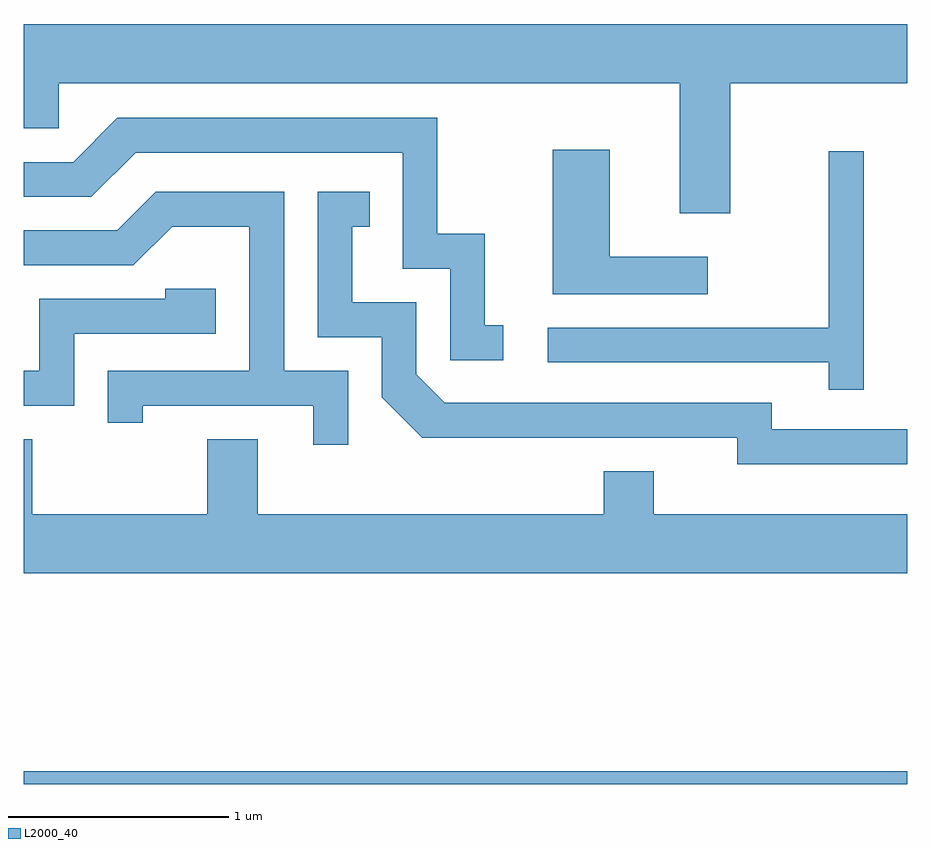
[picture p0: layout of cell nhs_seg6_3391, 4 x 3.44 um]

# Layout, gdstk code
import gdstk
lib = gdstk.Library(unit=1e-6, precision=1e-09)
def R(c, l, rs):  # rectangles x0, y0, x1, y1
    for r in rs: c.add(gdstk.rectangle(r[:2], r[2:], *l))
def P(c, l, *ps):  # polygons
    for p in ps: c.add(gdstk.Polygon(p, *l))
L2000_40 = (2000, 40)

nhs_seg6_3391 = lib.new_cell('nhs_seg6_3391')
R(nhs_seg6_3391, L2000_40, [(287.611,1580.162,291.611,1580.219)])
P(nhs_seg6_3391, L2000_40, [(290.809,1583.336),(291.611,1583.336),(291.611,1583.604),(287.611,1583.604),(287.611,1583.131),(287.769,1583.131),(287.769,1583.336),(290.581,1583.336),(290.581,1582.746),(290.809,1582.746)],
  [(289.783,1582.239),(289.699,1582.239),(289.699,1582.654),(289.484,1582.654),(289.484,1583.179),(288.034,1583.179),(287.834,1582.979),(287.611,1582.979),(287.611,1582.821),(287.917,1582.821),(288.117,1583.021),(289.326,1583.021),(289.326,1582.496),(289.541,1582.496),(289.541,1582.081),(289.783,1582.081)],
  [(290.708,1582.549),(290.264,1582.549),(290.264,1583.034),(290.006,1583.034),(290.006,1582.381),(290.708,1582.381)],
  [(291.414,1583.028),(291.256,1583.028),(291.256,1582.229),(289.983,1582.229),(289.983,1582.071),(291.256,1582.071),(291.256,1581.948),(291.414,1581.948)],
  [(289.079,1582.034),(288.789,1582.034),(288.789,1582.844),(288.209,1582.844),(288.034,1582.669),(287.611,1582.669),(287.611,1582.511),(288.107,1582.511),(288.282,1582.686),(288.631,1582.686),(288.631,1582.034),(287.991,1582.034),(287.991,1581.798),(288.149,1581.798),(288.149,1581.876),(288.921,1581.876),(288.921,1581.698),(289.079,1581.698)],
  [(291.611,1581.769),(290.999,1581.769),(290.999,1581.889),(289.517,1581.889),(289.389,1582.017),(289.389,1582.344),(289.099,1582.344),(289.099,1582.686),(289.178,1582.686),(289.178,1582.844),(288.941,1582.844),(288.941,1582.186),(289.231,1582.186),(289.231,1581.914),(289.414,1581.731),(290.841,1581.731),(290.841,1581.611),(291.611,1581.611)],
  [(287.839,1582.201),(288.479,1582.201),(288.479,1582.404),(288.251,1582.404),(288.251,1582.359),(287.681,1582.359),(287.681,1582.034),(287.611,1582.034),(287.611,1581.876),(287.839,1581.876)],
  [(291.611,1581.384),(290.464,1581.384),(290.464,1581.579),(290.236,1581.579),(290.236,1581.384),(288.669,1581.384),(288.669,1581.724),(288.441,1581.724),(288.441,1581.384),(287.649,1581.384),(287.649,1581.724),(287.611,1581.724),(287.611,1581.116),(291.611,1581.116)])

lib.write_gds('nhs_seg6_3391.gds')
